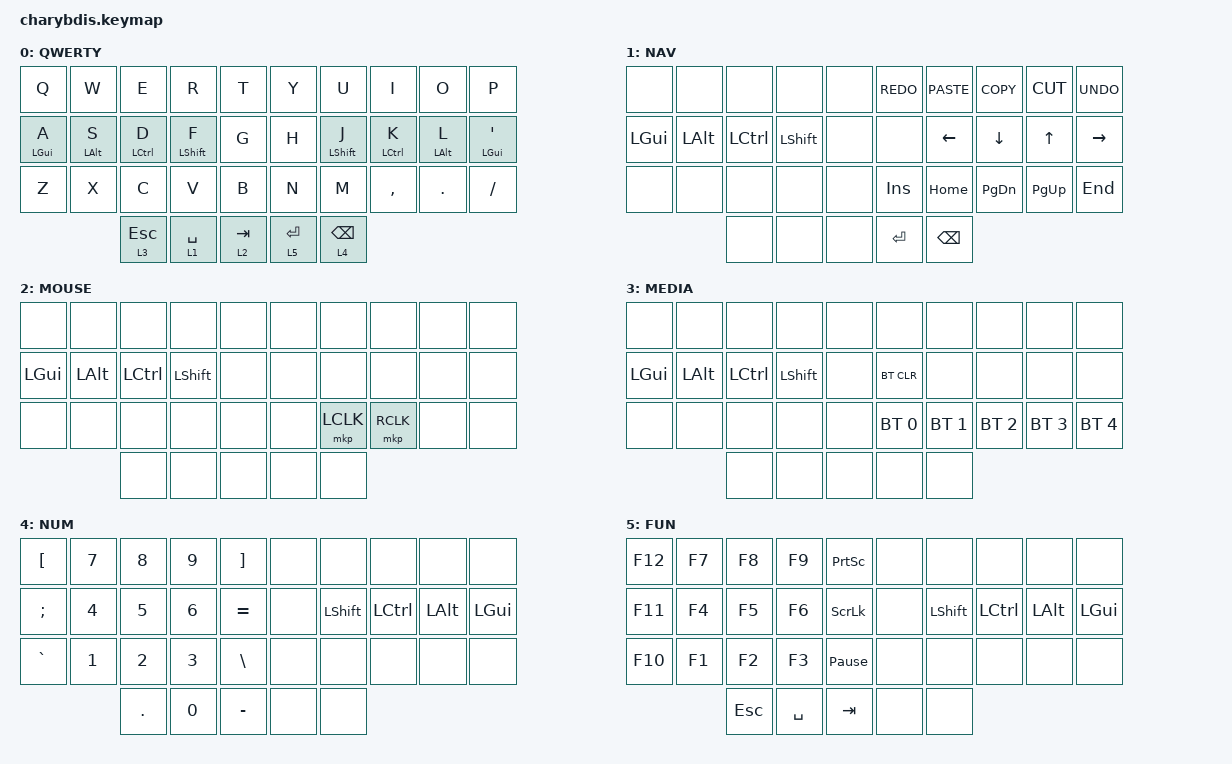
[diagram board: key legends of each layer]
#include <behaviors.dtsi>
#include <dt-bindings/zmk/keys.h>
#include <dt-bindings/zmk/bt.h>
#include <dt-bindings/zmk/mouse.h>
#include <dt-bindings/zmk/outputs.h>

&lt {
    tapping-term-ms = <240>;
    flavor = "tap-preferred";
    quick-tap-ms = <150>;
    require-prior-idle-ms = <10>;
};

&mt {
    tapping-term-ms = <250>;
    flavor = "tap-preferred";
    require-prior-idle-ms = <250>;
};

/ {
    chosen { zmk,matrix_transform = &five_column_transform; };
};

/ {

    combos {
        compatible = "zmk,combos";
    
        LeftClickRight {
            bindings = <&mkp LCLK>;
            key-positions = <16 17>;
        };
    
        RightClickRight {
            bindings = <&mkp RCLK>;
            key-positions = <17 18>;
        };
    
        ParaLeft {
            bindings = <&kp LEFT_PARENTHESIS>;
            key-positions = <3 13>;
        };
    
        ParaRight {
            bindings = <&kp RIGHT_PARENTHESIS>;
            key-positions = <6 16>;
        };
    
        BrakLeft {
            bindings = <&kp LEFT_BRACKET>;
            key-positions = <2 12>;
        };
    
        BrakRight {
            bindings = <&kp RIGHT_BRACKET>;
            key-positions = <7 17>;
        };
    
        BraceLeft {
            bindings = <&kp LEFT_BRACE>;
            key-positions = <1 11>;
        };
    
        BraceRight {
            bindings = <&kp RIGHT_BRACE>;
            key-positions = <8 18>;
        };
    
        Delete {
            bindings = <&kp DELETE>;
            key-positions = <7 8>;
        };
    
        CapsWord {
            bindings = <&caps_word>;
            key-positions = <14 15>;
        };
    };

    behaviors {
        Shift_Enter: Shift_Enter {
            compatible = "zmk,behavior-hold-tap";
            label = "SHIFT_ENTER";
            bindings = <&kp>, <&kp>;
    
            #binding-cells = <2>;
            hold-trigger-key-positions = <34>;
            tapping-term-ms = <100>;
        };
    };

    keymap {
        compatible = "zmk,keymap";
    
        QWERTY {
            label = "QWERTY";
            bindings = <
  &kp Q           &kp W           &kp E               &kp R             &kp T        &kp Y        &kp U             &kp I               &kp O           &kp P
  &mt LEFT_GUI A  &mt LEFT_ALT S  &mt LEFT_CONTROL D  &mt LEFT_SHIFT F  &kp G        &kp H        &mt LEFT_SHIFT J  &mt LEFT_CONTROL K  &mt LEFT_ALT L  &mt LEFT_GUI SQT
  &kp Z           &kp X           &kp C               &kp V             &kp B        &kp N        &kp M             &kp COMMA           &kp DOT         &kp SLASH
                                  &lt 3 ESCAPE        &lt 1 SPACE       &lt 2 TAB    &lt 5 ENTER  &lt 4 BACKSPACE
            >;
            trackball-bindings = <&tmv_coarse>;
        };

        NAV {
            label = "NAV";
            bindings = <
  &none         &none         &none             &none           &none    &kp K_REDO  &kp K_PASTE    &kp K_COPY     &kp K_CUT    &kp K_UNDO
  &kp LEFT_GUI  &kp LEFT_ALT  &kp LEFT_CONTROL  &kp LEFT_SHIFT  &none    &none       &kp LEFT       &kp DOWN       &kp UP       &kp RIGHT
  &none         &none         &none             &none           &none    &kp INSERT  &kp HOME       &kp PAGE_DOWN  &kp PAGE_UP  &kp END
                              &none             &none           &none    &kp ENTER   &kp BACKSPACE
            >;
            trackball-bindings = <&tmv_fine>;
        };

        MOUSE {
            label = "MOUSE";
            bindings = <
  &none         &none         &none             &none           &none    &none  &none      &none      &none  &none
  &kp LEFT_GUI  &kp LEFT_ALT  &kp LEFT_CONTROL  &kp LEFT_SHIFT  &none    &none  &none      &none      &none  &none
  &none         &none         &none             &none           &none    &none  &mkp LCLK  &mkp RCLK  &none  &none
                              &none             &none           &none    &none  &none
            >;
            trackball-bindings = <&tsl_fine>;
        };

        MEDIA {
            label = "MEDIA";
            bindings = <
  &none         &none         &none             &none           &none    &none         &none         &none         &none         &none
  &kp LEFT_GUI  &kp LEFT_ALT  &kp LEFT_CONTROL  &kp LEFT_SHIFT  &none    &bt BT_CLR    &none         &none         &none         &none
  &none         &none         &none             &none           &none    &bt BT_SEL 0  &bt BT_SEL 1  &bt BT_SEL 2  &bt BT_SEL 3  &bt BT_SEL 4
                              &none             &none           &none    &none         &none
            >;
            trackball-bindings = <&tmv_fine>;
        };

        NUM {
            label = "NUM";
            bindings = <
  &kp LEFT_BRACKET  &kp N7        &kp N8        &kp N9        &kp RIGHT_BRACKET    &none  &none           &none             &none         &none
  &kp SEMICOLON     &kp NUMBER_4  &kp N5        &kp NUMBER_6  &kp EQUAL            &none  &kp LEFT_SHIFT  &kp LEFT_CONTROL  &kp LEFT_ALT  &kp LEFT_GUI
  &kp GRAVE         &kp NUMBER_1  &kp NUMBER_2  &kp NUMBER_3  &kp BACKSLASH        &none  &none           &none             &none         &none
                                  &kp PERIOD    &kp N0        &kp MINUS            &none  &none
            >;
            trackball-bindings = <&tmv_fine>;
        };

        FUN {
            label = "FUN";
            bindings = <
  &kp F12  &kp F7  &kp F8      &kp F9     &kp PRINTSCREEN    &none  &none           &none             &none         &none
  &kp F11  &kp F4  &kp F5      &kp F6     &kp SCROLLLOCK     &none  &kp LEFT_SHIFT  &kp LEFT_CONTROL  &kp LEFT_ALT  &kp LEFT_GUI
  &kp F10  &kp F1  &kp F2      &kp F3     &kp PAUSE_BREAK    &none  &none           &none             &none         &none
                   &kp ESCAPE  &kp SPACE  &kp TAB            &none  &none
            >;
            trackball-bindings = <&tmv_fine>;
        };
    };
};
